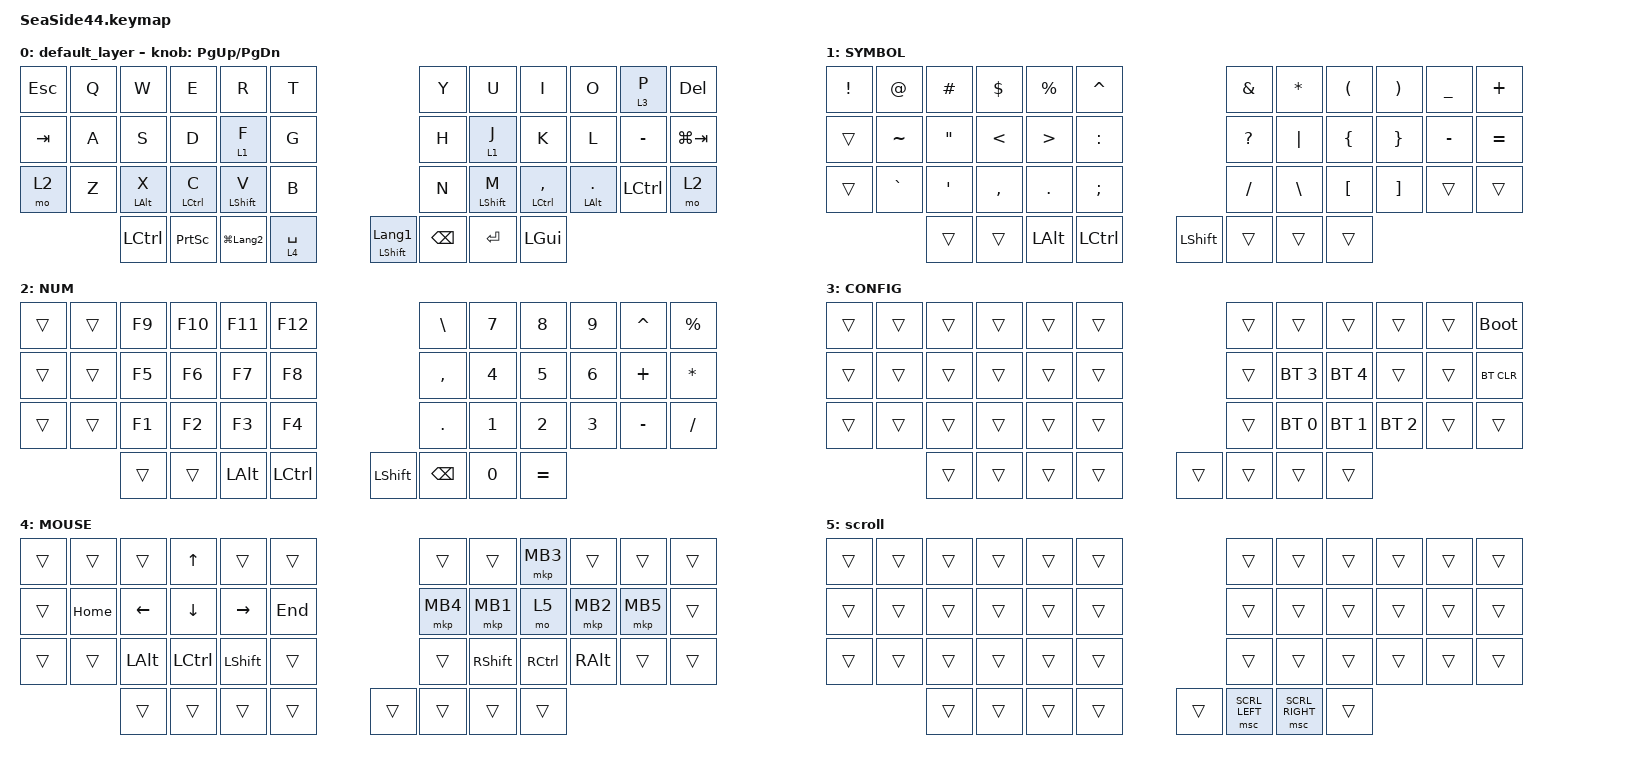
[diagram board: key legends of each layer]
#include <behaviors.dtsi>
#include <dt-bindings/zmk/bt.h>
#include <dt-bindings/zmk/keys.h>
#include <dt-bindings/zmk/pointing.h>

#define MOUSE 4
#define SCROLL 5
#define NUM 6

&mt {
    flavor = "balanced";
    quick-tap-ms = <300>;
};

&lt {
    flavor = "balanced";
    quick-tap-ms = <300>;
};

/ {
    combos {
        compatible = "zmk,combos";

        to_btlayer {
            bindings = <&mo 3>;
            key-positions = <15 16 14 13>;
        };
    };

    macros {
        to_layer_0: to_layer_0 {
            compatible = "zmk,behavior-macro-one-param";
            #binding-cells = <1>;
            bindings = <&to 0 &macro_param_1to1 &kp MACRO_PLACEHOLDER>;
            label = "TO_LAYER_0";
        };
    };

    behaviors {
        lt_to_layer_0: lt_to_layer_0 {
            compatible = "zmk,behavior-hold-tap";
            label = "LAYER_TAP_TO_0";
            bindings = <&mo>, <&to_layer_0>;

            #binding-cells = <2>;
            tapping-term-ms = <200>;
        };
    };

    keymap {
        compatible = "zmk,keymap";

        default_layer {
            bindings = <
&kp ESCAPE  &kp Q  &kp W           &kp E               &kp R               &kp T                                                    &kp Y      &kp U             &kp I                   &kp O                &lt 3 P           &kp DEL
&kp TAB     &kp A  &kp S           &kp D               &lt 1 F             &kp G                                                    &kp H      &lt 1 J           &kp K                   &kp L                &kp MINUS         &kp LG(TAB)
&mo 2       &kp Z  &mt LEFT_ALT X  &mt LEFT_CONTROL C  &mt LEFT_SHIFT V    &kp B                                                    &kp N      &mt LEFT_SHIFT M  &mt LEFT_CONTROL COMMA  &mt LEFT_ALT PERIOD  &kp LEFT_CONTROL  &mo 2
                   &kp LCTRL       &kp PRINTSCREEN     &kp LG(LANGUAGE_2)  &lt 4 SPACE  &mt LEFT_SHIFT LANGUAGE_1    &kp BACKSPACE  &kp ENTER                    &kp LEFT_GUI
            >;

            sensor-bindings = <&inc_dec_kp PG_UP PAGE_DOWN>;
        };

        SYMBOL {
            bindings = <
&kp EXCLAMATION  &kp AT_SIGN  &kp HASH          &kp DOLLAR     &kp PERCENT       &kp CARET                                   &kp AMPERSAND  &kp ASTERISK   &kp LEFT_PARENTHESIS  &kp RIGHT_PARENTHESIS  &kp UNDERSCORE  &kp PLUS
&trans           &kp TILDE    &kp DQT           &kp LESS_THAN  &kp GREATER_THAN  &kp COLON                                   &kp QUESTION   &kp PIPE       &kp LBRC              &kp RBRC               &kp MINUS       &kp EQUAL
&trans           &kp GRAVE    &kp SINGLE_QUOTE  &kp COMMA      &kp PERIOD        &kp SEMICOLON                               &kp SLASH      &kp BACKSLASH  &kp LEFT_BRACKET      &kp RIGHT_BRACKET      &trans          &trans
                              &trans            &trans         &kp LEFT_ALT      &kp LEFT_CONTROL  &kp LEFT_SHIFT    &trans  &trans                        &trans
            >;
        };

        NUM {
            bindings = <
&trans  &trans  &kp F9  &kp F10  &kp F11       &kp F12                                            &kp BACKSLASH  &kp NUMBER_7  &kp NUMBER_8  &kp NUMBER_9  &kp CARET  &kp PERCENT
&trans  &trans  &kp F5  &kp F6   &kp F7        &kp F8                                             &kp COMMA      &kp NUMBER_4  &kp NUMBER_5  &kp NUMBER_6  &kp PLUS   &kp ASTRK
&trans  &trans  &kp F1  &kp F2   &kp F3        &kp F4                                             &kp PERIOD     &kp NUMBER_1  &kp NUMBER_2  &kp NUMBER_3  &kp MINUS  &kp SLASH
                &trans  &trans   &kp LEFT_ALT  &kp LEFT_CONTROL  &kp LEFT_SHIFT    &kp BACKSPACE  &kp NUMBER_0                 &kp EQUAL
            >;
        };

        CONFIG {
            bindings = <
&trans  &trans  &trans  &trans  &trans  &trans                    &trans  &trans        &trans        &trans        &trans  &bootloader
&trans  &trans  &trans  &trans  &trans  &trans                    &trans  &bt BT_SEL 3  &bt BT_SEL 4  &trans        &trans  &bt BT_CLR
&trans  &trans  &trans  &trans  &trans  &trans                    &trans  &bt BT_SEL 0  &bt BT_SEL 1  &bt BT_SEL 2  &trans  &trans
                &trans  &trans  &trans  &trans  &trans    &trans  &trans                &trans
            >;
        };

        MOUSE {
            bindings = <
&trans  &trans    &trans          &kp UP_ARROW      &trans           &trans                     &trans    &trans           &mkp MB3           &trans         &trans    &trans
&trans  &kp HOME  &kp LEFT_ARROW  &kp DOWN_ARROW    &kp RIGHT_ARROW  &kp END                    &mkp MB4  &mkp MB1         &mo 5              &mkp MB2       &mkp MB5  &trans
&trans  &trans    &kp LEFT_ALT    &kp LEFT_CONTROL  &kp LEFT_SHIFT   &trans                     &trans    &kp RIGHT_SHIFT  &kp RIGHT_CONTROL  &kp RIGHT_ALT  &trans    &trans
                  &trans          &trans            &trans           &trans   &trans    &trans  &trans                     &trans
            >;
        };

        scroll {
            bindings = <
&trans  &trans  &trans  &trans  &trans  &trans                            &trans           &trans  &trans  &trans  &trans  &trans
&trans  &trans  &trans  &trans  &trans  &trans                            &trans           &trans  &trans  &trans  &trans  &trans
&trans  &trans  &trans  &trans  &trans  &trans                            &trans           &trans  &trans  &trans  &trans  &trans
                &trans  &trans  &trans  &trans  &trans    &msc SCRL_LEFT  &msc SCRL_RIGHT          &trans
            >;
        };
    };
};
